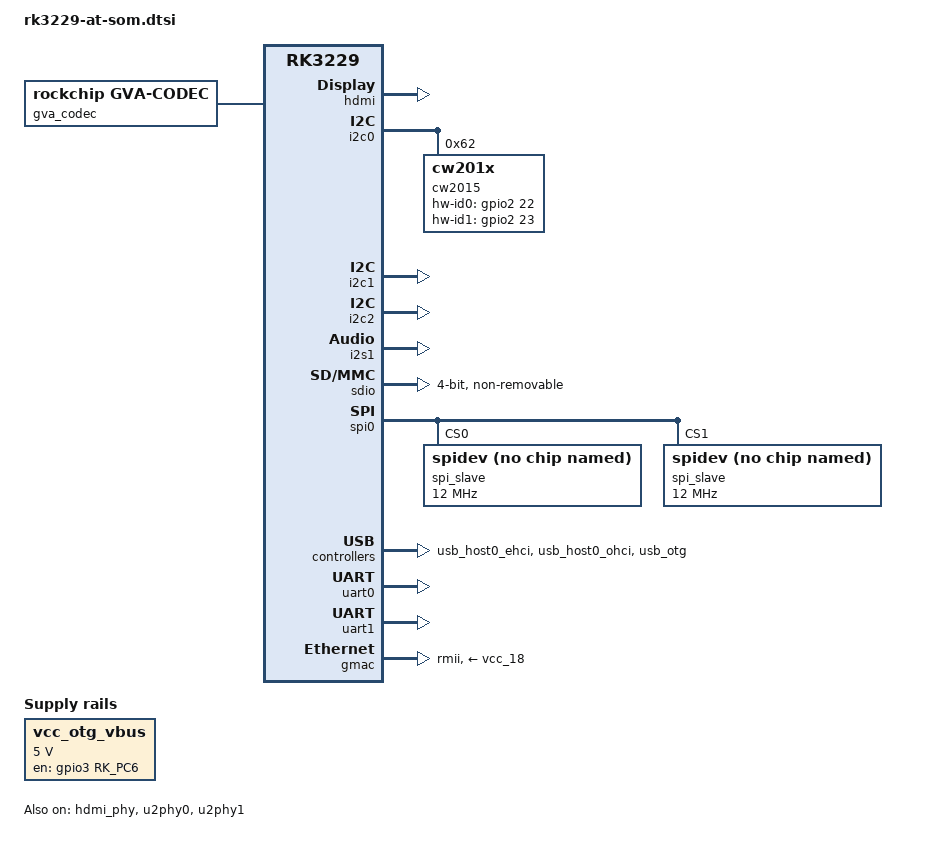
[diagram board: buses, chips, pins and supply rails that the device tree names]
/*
 * Copyright (c) 2017 Fuzhou Rockchip Electronics Co., Ltd
 *
 * This file is dual-licensed: you can use it either under the terms
 * of the GPL or the X11 license, at your option. Note that this dual
 * licensing only applies to this file, and not this project as a
 * whole.
 *
 *  a) This file is free software; you can redistribute it and/or
 *     modify it under the terms of the GNU General Public License as
 *     published by the Free Software Foundation; either version 2 of the
 *     License, or (at your option) any later version.
 *
 *     This file is distributed in the hope that it will be useful,
 *     but WITHOUT ANY WARRANTY; without even the implied warranty of
 *     MERCHANTABILITY or FITNESS FOR A PARTICULAR PURPOSE.  See the
 *     GNU General Public License for more details.
 *
 *  Or, alternatively,
 *
 *  b) Permission is hereby granted, free of charge, to any person
 *     obtaining a copy of this software and associated documentation
 *     files (the "Software"), to deal in the Software without
 *     restriction, including without limitation the rights to use,
 *     copy, modify, merge, publish, distribute, sublicense, and/or
 *     sell copies of the Software, and to permit persons to whom the
 *     Software is furnished to do so, subject to the following
 *     conditions:
 *
 *     The above copyright notice and this permission notice shall be
 *     included in all copies or substantial portions of the Software.
 *
 *     THE SOFTWARE IS PROVIDED "AS IS", WITHOUT WARRANTY OF ANY KIND,
 *     EXPRESS OR IMPLIED, INCLUDING BUT NOT LIMITED TO THE WARRANTIES
 *     OF MERCHANTABILITY, FITNESS FOR A PARTICULAR PURPOSE AND
 *     NONINFRINGEMENT. IN NO EVENT SHALL THE AUTHORS OR COPYRIGHT
 *     HOLDERS BE LIABLE FOR ANY CLAIM, DAMAGES OR OTHER LIABILITY,
 *     WHETHER IN AN ACTION OF CONTRACT, TORT OR OTHERWISE, ARISING
 *     FROM, OUT OF OR IN CONNECTION WITH THE SOFTWARE OR THE USE OR
 *     OTHER DEALINGS IN THE SOFTWARE.
 */
#include <dt-bindings/pwm/pwm.h>
#include <dt-bindings/input/input.h>

#include "rk3229-at-common.dtsi"

/ {

	hdmi_sound: hdmi-sound {
		status = "okay";
		compatible = "simple-audio-card";
		simple-audio-card,format = "i2s";
		simple-audio-card,mclk-fs = <256>;
		simple-audio-card,name = "rockchip,hdmi";
		simple-audio-card,cpu {
			sound-dai = <&i2s0>;
		};
		simple-audio-card,codec {
			sound-dai = <&hdmi>;
		};
	};

	gva_codec: gva-codec{
		compatible = "rockchip,gva-codec";
		#sound-dai-cells = <0>;
		status = "okay";
	};

	gva-sound {
		compatible = "simple-audio-card";
		simple-audio-card,format = "i2s";
		simple-audio-card,name = "rockchip,rk3229-dummy";
		simple-audio-card,mclk-fs = <256>;
		simple-audio-card,cpu {
			sound-dai = <&i2s1>;
		};
		simple-audio-card,codec {
			sound-dai = <&gva_codec>;
		};
	};

	vcc_otg_vbus: otg-vbus-regulator {
		compatible = "regulator-fixed";
		gpio = <&gpio3 RK_PC6 GPIO_ACTIVE_HIGH>;
		pinctrl-names = "default";
		pinctrl-0 = <&otg_vbus_drv>;
		regulator-name = "vcc_otg_vbus";
		regulator-min-microvolt = <5000000>;
		regulator-max-microvolt = <5000000>;
		enable-active-high;
	};
};

&hdmi {
	status = "okay";
	#sound-dai-cells = <0>;
	ddc-i2c-scl-high-time-ns = <9625>;
	ddc-i2c-scl-low-time-ns = <10000>;
};

&hdmi_phy {
	status = "okay";
};

&i2c0 {
	status = "okay";

	cw2015@62 {
		status = "okay";
		compatible = "cw201x";
		reg = <0x62>;
		bat_config_info = <0x15 0x42 0x60 0x59 0x52 0x58
		0x4D 0x48 0x48 0x44 0x44 0x46 0x49 0x48 0x32
		0x24 0x20 0x17 0x13 0x0F 0x19 0x3E 0x51 0x45
		0x08 0x76 0x0B 0x85 0x0E 0x1C 0x2E 0x3E 0x4D
		0x52 0x52 0x57 0x3D 0x1B 0x6A 0x2D 0x25 0x43
		0x52 0x87 0x8F 0x91 0x94 0x52 0x82 0x8C 0x92
		0x96 0xFF 0x7B 0xBB 0xCB 0x2F 0x7D 0x72 0xA5
		0xB5 0xC1 0x46 0xAE>;
		monitor_sec = <5>;
		virtual_power = <0>;
		hw_id_check = <1>;
		hw-id0-gpio = <&gpio2 22 GPIO_ACTIVE_HIGH>;
		hw-id1-gpio = <&gpio2 23 GPIO_ACTIVE_HIGH>;
	};
};

&i2c1 {
	status = "okay";
};

&i2c2 {
	status = "okay";
};

&i2s1 {
	status = "okay";
	rockchip,i2s-broken-burst-len;
	rockchip,playback-channels = <8>;
	rockchip,capture-channels = <8>;
	rockchip,bclk-fs = <64>;
	#sound-dai-cells = <0>;
};

&pinctrl {
	sdmmc {
		sdmmc_gpio: sdmmc-gpio {
			rockchip,pins = <1 14 RK_FUNC_GPIO &pcfg_pull_none>,
					<1 15 RK_FUNC_GPIO &pcfg_pull_up>,
					<1 16 RK_FUNC_GPIO &pcfg_pull_none>,
					<1 17 RK_FUNC_GPIO &pcfg_pull_up>,
					<1 18 RK_FUNC_GPIO &pcfg_pull_up>,
					<1 19 RK_FUNC_GPIO &pcfg_pull_up>,
					<1 20 RK_FUNC_GPIO &pcfg_pull_up>,
					<1 21 RK_FUNC_GPIO &pcfg_pull_up>;
		};
	};

	fixed_io {
		fixed_gpio: fixed-gpio {
			rockchip,pins = <2 19 RK_FUNC_GPIO &pcfg_pull_none>,
					<2 18 RK_FUNC_GPIO &pcfg_pull_none>,
					<2 17 RK_FUNC_GPIO &pcfg_pull_none>,
					<2 16 RK_FUNC_GPIO &pcfg_pull_none>,
					<2 15 RK_FUNC_GPIO &pcfg_pull_none>,
					<2 14 RK_FUNC_GPIO &pcfg_pull_none>,
					<2 13 RK_FUNC_GPIO &pcfg_pull_none>,
					<2 12 RK_FUNC_GPIO &pcfg_pull_none>,
					<2 11 RK_FUNC_GPIO &pcfg_pull_none>,
					<2 10 RK_FUNC_GPIO &pcfg_pull_none>,
					<2 9 RK_FUNC_GPIO &pcfg_pull_none>,
					<2 8 RK_FUNC_GPIO &pcfg_pull_up>,
					<1 7 RK_FUNC_GPIO &pcfg_pull_none>,
					<1 3 RK_FUNC_GPIO &pcfg_pull_none>,
					<1 0 RK_FUNC_GPIO &pcfg_pull_none>,
					<1 8 RK_FUNC_GPIO &pcfg_pull_up>,
					<0 17 RK_FUNC_GPIO &pcfg_pull_up>,
					<0 24 RK_FUNC_GPIO &pcfg_pull_up>;
		};
	};

	ir {
		ir_gpio: ir-gpio {
			rockchip,pins = <1 11 RK_FUNC_GPIO &pcfg_pull_up>;
		};
	};

	pwm0 {
		pwm0_gpio: pwm0-gpio {
			rockchip,pins = <3 21 RK_FUNC_GPIO &pcfg_pull_none>;
		};
	};

	pwm2 {
		pwm2_gpio: pwm2-gpio {
			rockchip,pins = <1 12 RK_FUNC_GPIO &pcfg_pull_up>;
		};
	};

	spdif {
		spdif_gpio: spdif-gpio {
			rockchip,pins = <3 31 RK_FUNC_GPIO &pcfg_pull_none>;
		};
	};

	usb {
		otg_vbus_drv: otg-vbus-drv {
			rockchip,pins =	<3 RK_PC6 RK_FUNC_GPIO &pcfg_pull_none>;
		};
	};
};

&rockchip_suspend {
	status = "okay";
	rockchip,sleep-mode-config = <
		(0
		|RKPM_CTR_GTCLKS
		|RKPM_CTR_IDLESRAM_MD
		|RKPM_CTR_PMIC
		)
	>;
};

&sdio {
	bus-width = <4>;
	cap-mmc-highspeed;
	cap-sd-highspeed;
	cap-sdio-irq;
	non-removable;
	ignore-pm-notify;
	keep-power-in-suspend;
	max-frequency = <150000000>;
	supports-sdio;
};

&spi0 {
	status = "okay";
	max-freq = <48000000>;
	pinctrl-names = "default";
	pinctrl-0 = <&spi1_clk &spi1_tx &spi1_rx &spi1_cs0 &spi1_cs1>;

	spi_slave@0 {
		compatible = "rockchip,spidev";
		reg = <0>;
		spi-max-frequency = <12000000>;
	};

	spi_slave@1 {
		compatible = "rockchip,spidev";
		reg = <1>;
		spi-max-frequency = <12000000>;
	};
};

&u2phy0 {
	status = "okay";

	u2phy0_otg: otg-port {
		vbus-supply = <&vcc_otg_vbus>;
		status = "okay";
	};

	u2phy0_host: host-port {
		status = "okay";
	};
};

&u2phy1 {
	status = "okay";

	u2phy1_otg: otg-port {
		status = "okay";
	};

	u2phy1_host: host-port {
		status = "okay";
	};
};

&usb_host0_ehci {
	status = "okay";
};

&usb_host0_ohci {
	status = "okay";
};

&uart0 {
	pinctrl-names = "default";
	pinctrl-0 = <&uart0_xfer>;
	status = "okay";
};

&uart1 {
	pinctrl-names = "default";
	pinctrl-0 = <&uart11_xfer &uart11_cts>;
	status = "okay";
};

&usb_otg {
	status = "okay";
};

&gmac {
	assigned-clocks = <&cru SCLK_MAC_SRC>;
	assigned-clock-rates = <50000000>;
	clock_in_out = "output";
	phy-supply = <&vcc_18>;
	phy-mode = "rmii";
	phy-is-integrated;
	status = "okay";
};
